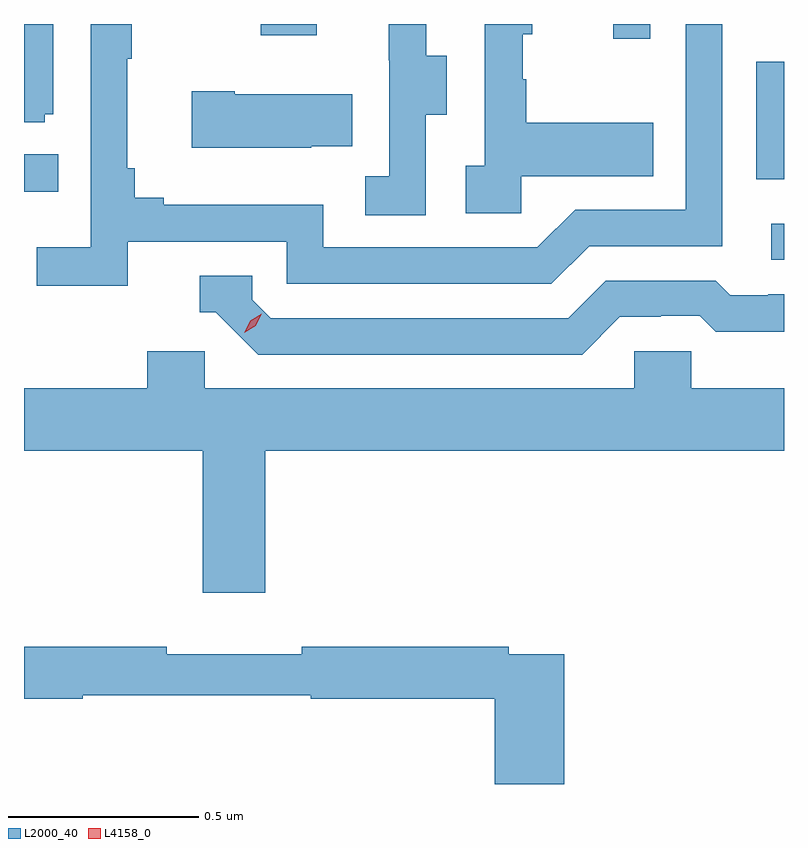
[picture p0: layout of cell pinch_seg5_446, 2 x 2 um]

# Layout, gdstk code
import gdstk
lib = gdstk.Library(unit=1e-6, precision=1e-09)
def R(c, l, rs):  # rectangles x0, y0, x1, y1
    for r in rs: c.add(gdstk.rectangle(r[:2], r[2:], *l))
def P(c, l, *ps):  # polygons
    for p in ps: c.add(gdstk.Polygon(p, *l))
L2000_40 = (2000, 40)
L4158_0 = (4158, 0)

pinch_seg5_446 = lib.new_cell('pinch_seg5_446')
R(pinch_seg5_446, L2000_40, [(945.723,869.25,945.757,869.346), (943.757,869.429,943.847,869.528), (945.684,869.463,945.757,869.772), (945.308,869.832,945.405,869.871), (944.38,869.841,944.527,869.871)])
P(pinch_seg5_446, L2000_40, [(944.03,869.298),(944.448,869.298),(944.448,869.187),(945.145,869.187),(945.244,869.286),(945.594,869.286),(945.594,869.871),(945.498,869.871),(945.498,869.382),(945.207,869.382),(945.108,869.283),(944.544,869.283),(944.544,869.395),(944.125,869.395),(944.125,869.414),(944.048,869.414),(944.048,869.491),(944.029,869.491),(944.029,869.779),(944.041,869.779),(944.041,869.871),(943.932,869.871),(943.932,869.284),(943.791,869.284),(943.791,869.182),(944.03,869.182)],
  [(943.812,869.634),(943.834,869.634),(943.834,869.871),(943.757,869.871),(943.757,869.613),(943.812,869.613)],
  [(944.814,869.632),(944.869,869.632),(944.869,869.787),(944.815,869.787),(944.815,869.871),(944.717,869.871),(944.717,869.775),(944.718,869.775),(944.718,869.471),(944.655,869.471),(944.655,869.368),(944.814,869.368)],
  [(945.066,869.471),(945.413,869.471),(945.413,869.611),(945.079,869.611),(945.079,869.726),(945.069,869.726),(945.069,869.844),(945.094,869.844),(945.094,869.871),(944.97,869.871),(944.97,869.498),(944.919,869.498),(944.919,869.373),(945.066,869.373)],
  [(944.513,869.549),(944.621,869.549),(944.621,869.686),(944.311,869.686),(944.311,869.694),(944.199,869.694),(944.199,869.546),(944.513,869.546)],
  [(945.325,869.1),(945.432,869.1),(945.432,869.103),(945.535,869.103),(945.577,869.061),(945.757,869.061),(945.757,869.16),(945.715,869.16),(945.715,869.157),(945.616,869.157),(945.577,869.196),(945.288,869.196),(945.189,869.097),(944.406,869.097),(944.358,869.145),(944.358,869.208),(944.219,869.208),(944.219,869.112),(944.262,869.112),(944.373,869.001),(945.226,869.001)],
  [(944.392,868.748),(945.757,868.748),(945.757,868.912),(945.513,868.912),(945.513,869.01),(945.363,869.01),(945.363,868.912),(944.232,868.912),(944.232,869.01),(944.081,869.01),(944.081,868.912),(943.757,868.912),(943.757,868.748),(944.228,868.748),(944.228,868.374),(944.392,868.374)],
  [(945.179,868.212),(945.032,868.212),(945.032,868.232),(944.488,868.232),(944.488,868.213),(944.132,868.213),(944.132,868.232),(943.757,868.232),(943.757,868.096),(943.912,868.096),(943.912,868.104),(944.512,868.104),(944.512,868.096),(944.996,868.096),(944.996,867.871),(945.179,867.871)])
P(pinch_seg5_446, L4158_0, [(944.336,869.058),(944.336,869.058),(944.352,869.09),(944.383,869.109),(944.383,869.109),(944.383,869.109),(944.367,869.077),(944.336,869.058)])

lib.write_gds('pinch_seg5_446.gds')
